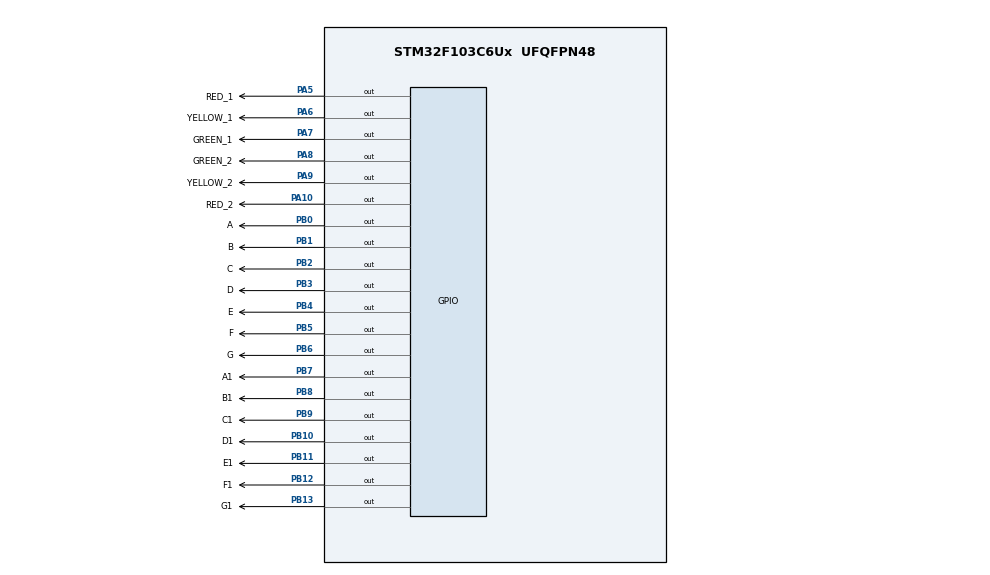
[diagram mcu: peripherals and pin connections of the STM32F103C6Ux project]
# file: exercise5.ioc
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Mcu.Family=STM32F1
Mcu.Name=STM32F103C6Ux
Mcu.Package=UFQFPN48
NVIC.PriorityGroup=NVIC_PRIORITYGROUP_4
PA10.GPIO_Label=RED_2
PA10.Signal=GPIO_Output
PA5.GPIO_Label=RED_1
PA5.Signal=GPIO_Output
PA6.GPIO_Label=YELLOW_1
PA6.Signal=GPIO_Output
PA7.GPIO_Label=GREEN_1
PA7.Signal=GPIO_Output
PA8.GPIO_Label=GREEN_2
PA8.Signal=GPIO_Output
PA9.GPIO_Label=YELLOW_2
PA9.Signal=GPIO_Output
PB0.GPIO_Label=A
PB0.Signal=GPIO_Output
PB1.GPIO_Label=B
PB1.Signal=GPIO_Output
PB10.GPIO_Label=D1
PB10.Signal=GPIO_Output
PB11.GPIO_Label=E1
PB11.Signal=GPIO_Output
PB12.GPIO_Label=F1
PB12.Signal=GPIO_Output
PB13.GPIO_Label=G1
PB13.Signal=GPIO_Output
PB2.GPIO_Label=C
PB2.Signal=GPIO_Output
PB3.GPIO_Label=D
PB3.Signal=GPIO_Output
PB4.GPIO_Label=E
PB4.Signal=GPIO_Output
PB5.GPIO_Label=F
PB5.Signal=GPIO_Output
PB6.GPIO_Label=G
PB6.Signal=GPIO_Output
PB7.GPIO_Label=A1
PB7.Signal=GPIO_Output
PB8.GPIO_Label=B1
PB8.Signal=GPIO_Output
PB9.GPIO_Label=C1
PB9.Signal=GPIO_Output
ProjectManager.HeapSize=0x200
ProjectManager.StackSize=0x400
ProjectManager.TargetToolchain=STM32CubeIDE
RCC.APB1Freq_Value=8000000
RCC.APB2Freq_Value=8000000
VP_SYS_VS_ND.Mode=No_Debug
board=custom

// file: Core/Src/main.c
/* USER CODE BEGIN Header */
/**
  ******************************************************************************
  * @file           : main.c
  * @brief          : Main program body
  ******************************************************************************
  * @attention
  *
  * <h2><center>&copy; Copyright (c) 2025 STMicroelectronics.
  * All rights reserved.</center></h2>
  *
  * This software component is licensed by ST under BSD 3-Clause license,
  * the "License"; You may not use this file except in compliance with the
  * License. You may obtain a copy of the License at:
  *                        opensource.org/licenses/BSD-3-Clause
  *
  ******************************************************************************
  */
/* USER CODE END Header */
#include "main.h"

void SystemClock_Config(void);
static void MX_GPIO_Init(void);
/* USER CODE BEGIN PFP */
void display7SEG(int num);
void display7SEG1(int num);
/* USER CODE END PFP */

/* USER CODE BEGIN 0 */
const uint8_t seg_table[10] = {
		    0b0000001,
		    0b1001111,
		    0b0010010,
		    0b0000110,
		    0b1001100,
		    0b0100100,
		    0b0100000,
		    0b0001111,
		    0b0000000,
		    0b0000100
};
GPIO_TypeDef* seg_ports[7] = {GPIOB, GPIOB, GPIOB, GPIOB, GPIOB, GPIOB, GPIOB};
uint16_t seg_pins[7]={A_Pin, B_Pin, C_Pin, D_Pin, E_Pin, F_Pin, G_Pin};

GPIO_TypeDef* seg_ports1[7] = {GPIOB, GPIOB, GPIOB, GPIOB, GPIOB, GPIOB, GPIOB};
uint16_t seg_pins1[7]={A1_Pin, B1_Pin, C1_Pin, D1_Pin, E1_Pin, F1_Pin, G1_Pin};
/* USER CODE END 0 */

int main(void)
{

  /* MCU Configuration--------------------------------------------------------*/

  /* Reset of all peripherals, Initializes the Flash interface and the Systick. */
  HAL_Init();

  /* Configure the system clock */
  SystemClock_Config();

  /* Initialize all configured peripherals */
  MX_GPIO_Init();

  /* Infinite loop */
  /* USER CODE BEGIN WHILE */
  int counter=0;
  int timer1 = 0;
  int timer2 = 0;

  while (1) {

      if (counter < 5) {
          HAL_GPIO_WritePin(RED_1_GPIO_Port, RED_1_Pin, GPIO_PIN_RESET);
          HAL_GPIO_WritePin(GREEN_1_GPIO_Port, GREEN_1_Pin, GPIO_PIN_SET);
          HAL_GPIO_WritePin(YELLOW_1_GPIO_Port, YELLOW_1_Pin, GPIO_PIN_SET);

          if (counter < 3) {
              HAL_GPIO_WritePin(RED_2_GPIO_Port, RED_2_Pin, GPIO_PIN_SET);
              HAL_GPIO_WritePin(GREEN_2_GPIO_Port, GREEN_2_Pin, GPIO_PIN_RESET);
              HAL_GPIO_WritePin(YELLOW_2_GPIO_Port, YELLOW_2_Pin, GPIO_PIN_SET);

              timer2 = 3 - counter; //  xanh
          } else {
              // ET vàng (counter == 3,4)
              HAL_GPIO_WritePin(RED_2_GPIO_Port, RED_2_Pin, GPIO_PIN_SET);
              HAL_GPIO_WritePin(GREEN_2_GPIO_Port, GREEN_2_Pin, GPIO_PIN_SET);
              HAL_GPIO_WritePin(YELLOW_2_GPIO_Port, YELLOW_2_Pin, GPIO_PIN_RESET);

              timer2 = 5 - counter; // vang 2,1
          }

          timer1 = 5 - counter; //  5..1
      }
      else if (counter < 10) {
          int t = counter - 5; // 0..4

          HAL_GPIO_WritePin(RED_2_GPIO_Port, RED_2_Pin, GPIO_PIN_RESET);
          HAL_GPIO_WritePin(GREEN_2_GPIO_Port, GREEN_2_Pin, GPIO_PIN_SET);
          HAL_GPIO_WritePin(YELLOW_2_GPIO_Port, YELLOW_2_Pin, GPIO_PIN_SET);

          // Bắc–Nam: xanh 3s (t=0..2) rồi vàng 2s (t=3..4)
          if (t < 3) {
              HAL_GPIO_WritePin(RED_1_GPIO_Port, RED_1_Pin, GPIO_PIN_SET);
              HAL_GPIO_WritePin(GREEN_1_GPIO_Port, GREEN_1_Pin, GPIO_PIN_RESET);
              HAL_GPIO_WritePin(YELLOW_1_GPIO_Port, YELLOW_1_Pin, GPIO_PIN_SET);

              timer1 = 3 - t; // BN xanh đếm 3..1
          } else {
              HAL_GPIO_WritePin(RED_1_GPIO_Port, RED_1_Pin, GPIO_PIN_SET);
              HAL_GPIO_WritePin(GREEN_1_GPIO_Port, GREEN_1_Pin, GPIO_PIN_SET);
              HAL_GPIO_WritePin(YELLOW_1_GPIO_Port, YELLOW_1_Pin, GPIO_PIN_RESET);

              timer1 = 5 - t; // BN vàng đếm 2..1
          }

          timer2 = 10 - counter; // ET đỏ còn 5..1
      }
      display7SEG((timer1 > 0) ? timer1 : 0);
      display7SEG1((timer2 > 0) ? timer2 : 0);
      HAL_Delay(1000);
      counter++;
      if (counter >= 10) counter = 0;
  }

  /* USER CODE END 3 */
}

void SystemClock_Config(void)
{
  RCC_OscInitTypeDef RCC_OscInitStruct = {0};
  RCC_ClkInitTypeDef RCC_ClkInitStruct = {0};

  /** Initializes the RCC Oscillators according to the specified parameters
  * in the RCC_OscInitTypeDef structure.
  */
  RCC_OscInitStruct.OscillatorType = RCC_OSCILLATORTYPE_HSI;
  RCC_OscInitStruct.HSIState = RCC_HSI_ON;
  RCC_OscInitStruct.HSICalibrationValue = RCC_HSICALIBRATION_DEFAULT;
  RCC_OscInitStruct.PLL.PLLState = RCC_PLL_NONE;
  if (HAL_RCC_OscConfig(&RCC_OscInitStruct) != HAL_OK)
  {
    Error_Handler();
  }
  /** Initializes the CPU, AHB and APB buses clocks
  */
  RCC_ClkInitStruct.ClockType = RCC_CLOCKTYPE_HCLK|RCC_CLOCKTYPE_SYSCLK
                              |RCC_CLOCKTYPE_PCLK1|RCC_CLOCKTYPE_PCLK2;
  RCC_ClkInitStruct.SYSCLKSource = RCC_SYSCLKSOURCE_HSI;
  RCC_ClkInitStruct.AHBCLKDivider = RCC_SYSCLK_DIV1;
  RCC_ClkInitStruct.APB1CLKDivider = RCC_HCLK_DIV1;
  RCC_ClkInitStruct.APB2CLKDivider = RCC_HCLK_DIV1;

  if (HAL_RCC_ClockConfig(&RCC_ClkInitStruct, FLASH_LATENCY_0) != HAL_OK)
  {
    Error_Handler();
  }
}

static void MX_GPIO_Init(void)
{
  GPIO_InitTypeDef GPIO_InitStruct = {0};

  /* GPIO Ports Clock Enable */
  __HAL_RCC_GPIOA_CLK_ENABLE();
  __HAL_RCC_GPIOB_CLK_ENABLE();

  /*Configure GPIO pin Output Level */
  HAL_GPIO_WritePin(GPIOA, RED_1_Pin|YELLOW_1_Pin|GREEN_1_Pin|GREEN_2_Pin
                          |YELLOW_2_Pin|RED_2_Pin, GPIO_PIN_RESET);

  /*Configure GPIO pin Output Level */
  HAL_GPIO_WritePin(GPIOB, A_Pin|B_Pin|C_Pin|D1_Pin
                          |E1_Pin|F1_Pin|G1_Pin|D_Pin
                          |E_Pin|F_Pin|G_Pin|A1_Pin
                          |B1_Pin|C1_Pin, GPIO_PIN_RESET);

  /*Configure GPIO pins : RED_1_Pin YELLOW_1_Pin GREEN_1_Pin GREEN_2_Pin
                           YELLOW_2_Pin RED_2_Pin */
  GPIO_InitStruct.Pin = RED_1_Pin|YELLOW_1_Pin|GREEN_1_Pin|GREEN_2_Pin
                          |YELLOW_2_Pin|RED_2_Pin;
  GPIO_InitStruct.Mode = GPIO_MODE_OUTPUT_PP;
  GPIO_InitStruct.Pull = GPIO_NOPULL;
  GPIO_InitStruct.Speed = GPIO_SPEED_FREQ_LOW;
  HAL_GPIO_Init(GPIOA, &GPIO_InitStruct);

  /*Configure GPIO pins : A_Pin B_Pin C_Pin D1_Pin
                           E1_Pin F1_Pin G1_Pin D_Pin
                           E_Pin F_Pin G_Pin A1_Pin
                           B1_Pin C1_Pin */
  GPIO_InitStruct.Pin = A_Pin|B_Pin|C_Pin|D1_Pin
                          |E1_Pin|F1_Pin|G1_Pin|D_Pin
                          |E_Pin|F_Pin|G_Pin|A1_Pin
                          |B1_Pin|C1_Pin;
  GPIO_InitStruct.Mode = GPIO_MODE_OUTPUT_PP;
  GPIO_InitStruct.Pull = GPIO_NOPULL;
  GPIO_InitStruct.Speed = GPIO_SPEED_FREQ_LOW;
  HAL_GPIO_Init(GPIOB, &GPIO_InitStruct);

}

/* USER CODE BEGIN 4 */
void display7SEG(int num){
	uint8_t pattern = seg_table[num];
	for(int i=0; i< 7; i++){
		if(pattern & (1<< i))
			HAL_GPIO_WritePin(seg_ports[i], seg_pins[i], SET);
		else
			HAL_GPIO_WritePin(seg_ports[i], seg_pins[i], RESET);
	}
}

void display7SEG1(int num){
	uint8_t pattern = seg_table[num];
	for(int i=0; i<7; i++){
		if(pattern & (1<<i))
			HAL_GPIO_WritePin(seg_ports1[i], seg_pins1[i], SET);
		else
			HAL_GPIO_WritePin(seg_ports1[i], seg_pins1[i], RESET);
	}
}
/* USER CODE END 4 */

void Error_Handler(void)
{
  __disable_irq();
  while (1)
  {
  }
}

/************************ (C) COPYRIGHT STMicroelectronics *****END OF FILE****/
